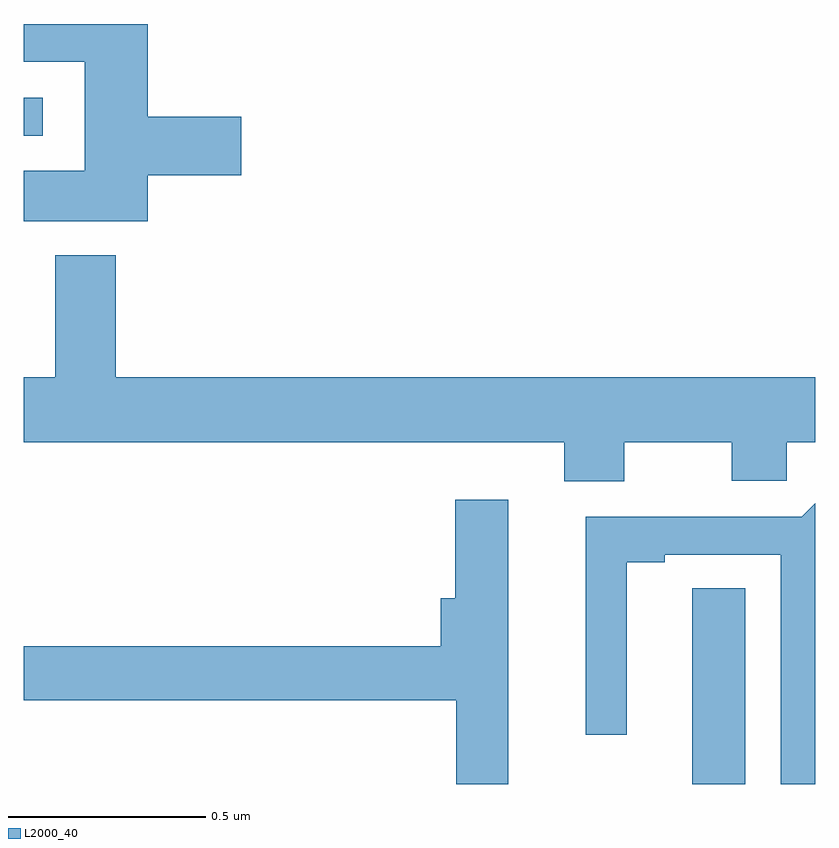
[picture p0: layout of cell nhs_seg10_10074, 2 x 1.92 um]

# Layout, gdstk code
import gdstk
lib = gdstk.Library(unit=1e-6, precision=1e-09)
def R(c, l, rs):  # rectangles x0, y0, x1, y1
    for r in rs: c.add(gdstk.rectangle(r[:2], r[2:], *l))
def P(c, l, *ps):  # polygons
    for p in ps: c.add(gdstk.Polygon(p, *l))
L2000_40 = (2000, 40)

nhs_seg10_10074 = lib.new_cell('nhs_seg10_10074')
R(nhs_seg10_10074, L2000_40, [(239.69,1251.5,239.824,1251.995), (238,1253.139,238.048,1253.235)])
P(nhs_seg10_10074, L2000_40, [(238.313,1253.039),(238.549,1253.039),(238.549,1253.186),(238.313,1253.186),(238.313,1253.421),(238,1253.421),(238,1253.325),(238.154,1253.325),(238.154,1253.05),(238,1253.05),(238,1252.922),(238.313,1252.922)],
  [(239.518,1252.364),(239.789,1252.364),(239.789,1252.266),(239.928,1252.266),(239.928,1252.364),(240,1252.364),(240,1252.528),(238.232,1252.528),(238.232,1252.837),(238.079,1252.837),(238.079,1252.528),(238,1252.528),(238,1252.364),(239.366,1252.364),(239.366,1252.265),(239.518,1252.265)],
  [(239.224,1252.219),(239.09,1252.219),(239.09,1251.97),(239.054,1251.97),(239.054,1251.848),(238,1251.848),(238,1251.712),(239.093,1251.712),(239.093,1251.5),(239.224,1251.5)],
  [(240,1252.21),(239.966,1252.176),(239.42,1252.176),(239.42,1251.624),(239.524,1251.624),(239.524,1252.06),(239.62,1252.06),(239.62,1252.08),(239.913,1252.08),(239.913,1251.5),(240,1251.5)])

lib.write_gds('nhs_seg10_10074.gds')
